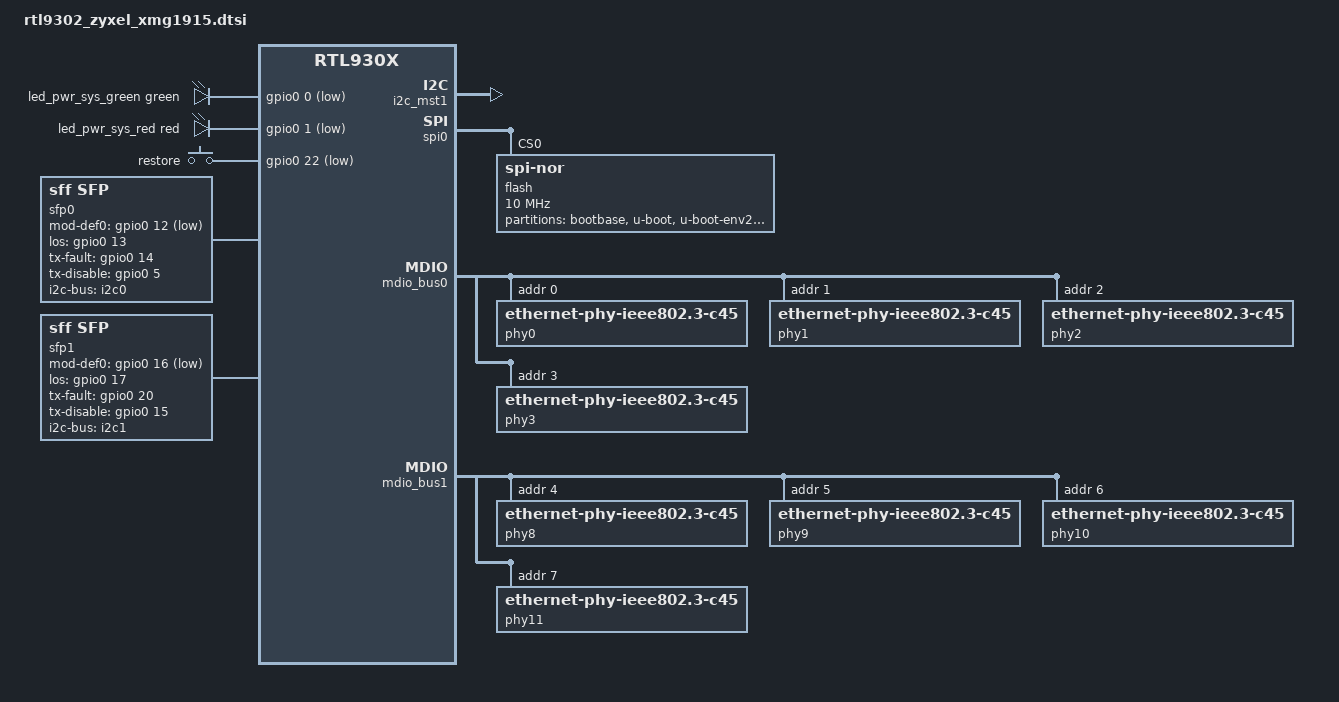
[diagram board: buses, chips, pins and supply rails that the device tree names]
// SPDX-License-Identifier: GPL-2.0-or-later
/dts-v1/;

#include "rtl930x.dtsi"

#include <dt-bindings/input/input.h>
#include <dt-bindings/gpio/gpio.h>
#include <dt-bindings/leds/common.h>

/ {
	aliases {
		label-mac-device = &ethernet0;
		led-boot = &led_pwr_sys_green;
		led-failsafe = &led_pwr_sys_red;
		led-running = &led_pwr_sys_green;
		led-upgrade = &led_pwr_sys_green;
	};

	leds {
		compatible = "gpio-leds";

		pinctrl-names = "default";
		pinctrl-0 = <&pinmux_disable_sys_led>;

		led_pwr_sys_green: led-0 {
			color = <LED_COLOR_ID_GREEN>;
			function = LED_FUNCTION_POWER;
			gpios = <&gpio0 0 GPIO_ACTIVE_LOW>;
			default-state = "on";
		};

		led_pwr_sys_red: led-1 {
			color = <LED_COLOR_ID_RED>;
			function = LED_FUNCTION_POWER;
			gpios = <&gpio0 1 GPIO_ACTIVE_LOW>;
			default-state = "off";
		};
	};

	led_set: led_set {
		compatible = "realtek,rtl9300-leds";
		active-low;

		/* Copper */
		led_set0 = <(RTL93XX_LED_SET_100M | RTL93XX_LED_SET_LINK |
			     RTL93XX_LED_SET_ACT)
			    (RTL93XX_LED_SET_100M |RTL93XX_LED_SET_1G |
			     RTL93XX_LED_SET_2P5G | RTL93XX_LED_SET_LINK |
			     RTL93XX_LED_SET_ACT)
			    (RTL93XX_LED_SET_2P5G | RTL93XX_LED_SET_LINK |
			     RTL93XX_LED_SET_ACT)>;
		/* SFP+ */
		led_set1 = <(RTL93XX_LED_SET_1G | RTL93XX_LED_SET_2P5G |
			     RTL93XX_LED_SET_LINK | RTL93XX_LED_SET_ACT)
			     (RTL93XX_LED_SET_10G | RTL93XX_LED_SET_2P5G |
			     RTL93XX_LED_SET_LINK | RTL93XX_LED_SET_ACT)>;

		/* PoE and Cloud are 4 leds in total but software managed.
		   Assign them to led_set 1 to avoid shifting the others
		   incorrectly. */
		realtek,led-set1-force-port-mask = <0x01800000>;
	};

	keys {
		compatible = "gpio-keys";

		mode {
			label = "restore";
			gpios = <&gpio0 22 GPIO_ACTIVE_LOW>;
			linux,code = <BTN_0>;
		};
	};

	sfp0: sfp-p9 {
		compatible = "sff,sfp";
		i2c-bus = <&i2c0>;
		mod-def0-gpio = <&gpio0 12 GPIO_ACTIVE_LOW>;
		los-gpio = <&gpio0 13 GPIO_ACTIVE_HIGH>;
		tx-fault-gpio = <&gpio0 14 GPIO_ACTIVE_HIGH>;
		tx-disable-gpio = <&gpio0 5 GPIO_ACTIVE_HIGH>;
	};

	sfp1: sfp-p10 {
		compatible = "sff,sfp";
		i2c-bus = <&i2c1>;
		mod-def0-gpio = <&gpio0 16 GPIO_ACTIVE_LOW>;
		los-gpio = <&gpio0 17 GPIO_ACTIVE_HIGH>;
		tx-fault-gpio = <&gpio0 20 GPIO_ACTIVE_HIGH>;
		tx-disable-gpio = <&gpio0 15 GPIO_ACTIVE_HIGH>;
	};
};

&i2c_mst1 {
	status = "okay";

	/* i2c of the left SFP+ cage seen from the front; port 9 */
	i2c0: i2c@0 {
		reg = <0>;
	};

	/* i2c of the right SFP+ cage seen from the front; port 10 */
	i2c1: i2c@1 {
		reg = <1>;
	};
};

&spi0 {
	status = "okay";

	flash@0 {
		compatible = "jedec,spi-nor";
		reg = <0>;
		spi-max-frequency = <10000000>;

		partitions {
			compatible = "fixed-partitions";
			#address-cells = <1>;
			#size-cells = <1>;

			partition@0 {
				label = "bootbase";
				reg = <0x0 0x80000>;
				read-only;

				compatible = "fixed-partitions";
				#address-cells = <1>;
				#size-cells = <1>;

				partition@0 {
					label = "u-boot";
					reg = <0x0 0x7e000>;
				};

				partition@7e000 {
					label = "u-boot-env2";
					reg = <0x7e000 0x1000>;
				};

				partition@7f000 {
					label = "mrd";
					reg = <0x7f000 0x1000>;

					nvmem-layout {
						compatible = "fixed-layout";
						#address-cells = <1>;
						#size-cells = <1>;

						/* 12 addresses are available */
						macaddr_factory: macaddr@ff8 {
							compatible = "mac-base";
							reg = <0xff8 0x6>;
							#nvmem-cell-cells = <1>;
						};
					};
				};
			};

			partition@80000 {
				label = "reserved";
				reg = <0x80000 0x1e0000>;
				read-only;
			};

			partition@260000 {
				label = "factory";
				reg = <0x260000 0x1da0000>;

				compatible = "fixed-partitions";
				#address-cells = <1>;
				#size-cells = <1>;

				partition@0 {
					label = "loader";
					reg = <0x0 0x10000>;
				};
				partition@10000 {
					label = "firmware";
					reg = <0x10000 0x1d90000>;
					compatible = "openwrt,uimage", "denx,uimage";
				};
			};
		};
	};
};

/*
 * GPIO 2 is the global reset shared by all PHYs across all MDIO busses.
 * It is intentionally not declared as reset-gpios on any bus: the MDIO
 * driver / phylink only support a reset GPIO per bus, not on the parent
 * controller. Attaching it to a single bus would still reset the PHYs
 * on the other busses as a side effect, leaving their software state
 * out of sync with the hardware and likely breaking them.
 */

&mdio_bus0 {
	/* External RTL8224 PHY */
	phy0: ethernet-phy@0 {
		reg = <0>;
		compatible = "ethernet-phy-ieee802.3-c45";
		enet-phy-pair-order = <0>;
		enet-phy-pair-polarity = <0>;
	};
	phy1: ethernet-phy@1 {
		reg = <1>;
		compatible = "ethernet-phy-ieee802.3-c45";
		enet-phy-pair-order = <0>;
		enet-phy-pair-polarity = <0>;
	};
	phy2: ethernet-phy@2 {
		reg = <2>;
		compatible = "ethernet-phy-ieee802.3-c45";
		enet-phy-pair-order = <1>;
		enet-phy-pair-polarity = <0>;
	};
	phy3: ethernet-phy@3 {
		reg = <3>;
		compatible = "ethernet-phy-ieee802.3-c45";
		enet-phy-pair-order = <1>;
		enet-phy-pair-polarity = <0>;
	};
};

&mdio_bus1 {
	/* External RTL8224 PHY */
	phy8: ethernet-phy@4 {
		reg = <4>;
		compatible = "ethernet-phy-ieee802.3-c45";
		enet-phy-pair-order = <0>;
		enet-phy-pair-polarity = <0>;
	};
	phy9: ethernet-phy@5 {
		reg = <5>;
		compatible = "ethernet-phy-ieee802.3-c45";
		enet-phy-pair-order = <0>;
		enet-phy-pair-polarity = <0>;
	};
	phy10: ethernet-phy@6 {
		reg = <6>;
		compatible = "ethernet-phy-ieee802.3-c45";
		enet-phy-pair-order = <1>;
		enet-phy-pair-polarity = <0>;
	};
	phy11: ethernet-phy@7 {
		reg = <7>;
		compatible = "ethernet-phy-ieee802.3-c45";
		enet-phy-pair-order = <1>;
		enet-phy-pair-polarity = <0>;
	};
};

&ethernet0 {
	nvmem-cells = <&macaddr_factory 0>;
	nvmem-cell-names = "mac-address";
};

&switch0 {
	ethernet-ports {
		#address-cells = <1>;
		#size-cells = <0>;

		/* Copper ports */
		SWITCH_PORT_LED(0, 1, 2, 0, 0, 10g-qxgmii)
		SWITCH_PORT_LED(1, 2, 2, 1, 0, 10g-qxgmii)
		SWITCH_PORT_LED(2, 3, 2, 2, 0, 10g-qxgmii)
		SWITCH_PORT_LED(3, 4, 2, 3, 0, 10g-qxgmii)
		SWITCH_PORT_LED(8, 5, 3, 0, 0, 10g-qxgmii)
		SWITCH_PORT_LED(9, 6, 3, 1, 0, 10g-qxgmii)
		SWITCH_PORT_LED(10, 7, 3, 2, 0, 10g-qxgmii)
		SWITCH_PORT_LED(11, 8, 3, 3, 0, 10g-qxgmii)

		/* SFP cages */
		SWITCH_PORT_SFP(25, 9, 7, 1, 0)
		SWITCH_PORT_SFP(27, 10, 9, 1, 1)

		port@28 {
			ethernet = <&ethernet0>;
			reg = <28>;
			phy-mode = "internal";
			fixed-link {
				speed = <1000>;
				full-duplex;
			};
		};
	};
};
